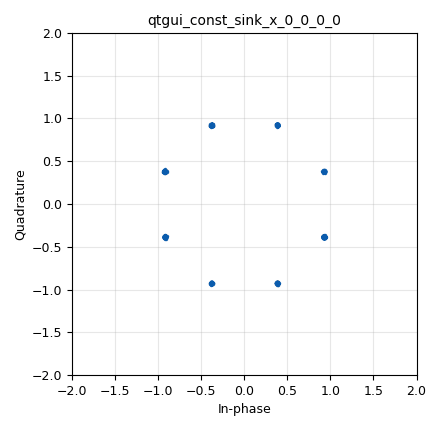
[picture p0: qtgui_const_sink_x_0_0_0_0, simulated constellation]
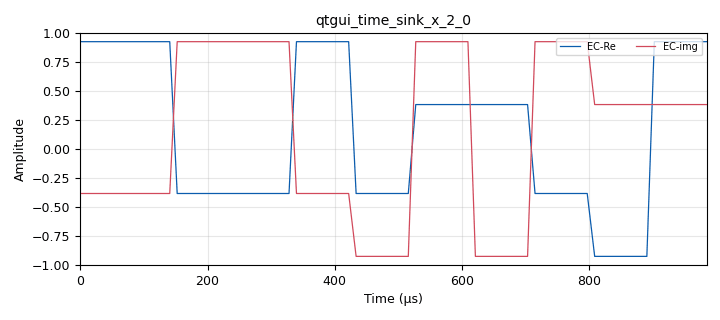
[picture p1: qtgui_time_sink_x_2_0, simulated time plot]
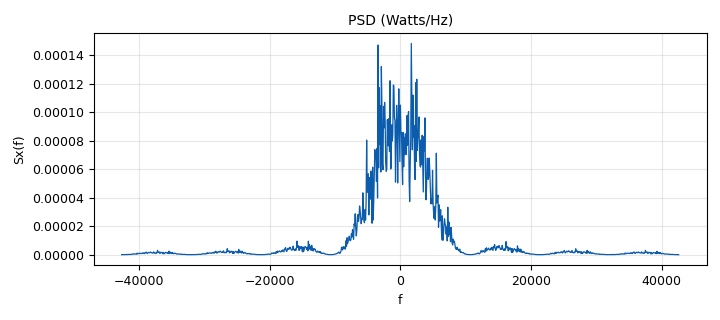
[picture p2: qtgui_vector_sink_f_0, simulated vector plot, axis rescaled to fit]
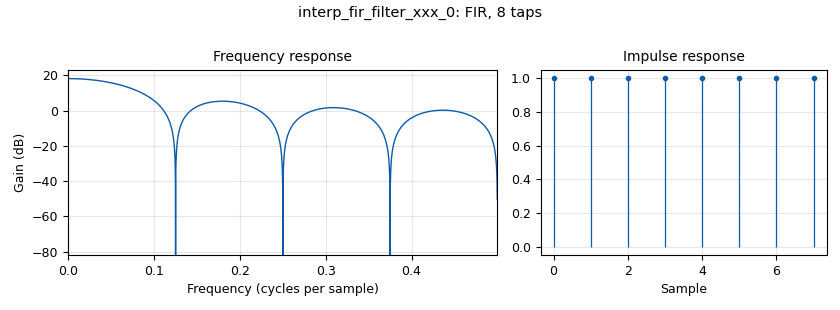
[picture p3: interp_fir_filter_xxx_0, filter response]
options:
  parameters:
    generate_options: qt_gui
    id: new_hier
    output_language: python
    title: Not titled yet
  states: {}

blocks:
- name: Constelacion
  id: variable
  parameters:
    value: (-0.77-0.77j,-1+0j,-0.77+0.77j,0+1j,0.77+0.77j,1+0j,0.77-0.77j,0-1j)
  states: {state: disabled}
- name: Constelacion
  id: variable
  parameters:
    value: '[1+0j,0+1j,-1+0j,0-1j]'
  states: {state: disabled}
- name: Constelacion
  id: variable
  parameters:
    value: (0.9239+0.3827j, 0.3827+0.9239j, -0.3827+0.9239j, -0.9239+0.3827j, -0.9239-0.3827j, -0.3827-0.9239j, 0.3827-0.9239j, 0.9239-0.3827j)
  states: {}
- name: Constelacion
  id: variable
  parameters:
    value: |-
      (0.3827+0.9239j, -0.3827+0.9239j, -0.9239+0.3827j, -0.9239-0.3827j,
       -0.3827-0.9239j, 0.3827-0.9239j, 0.9239-0.3827j, 0.9239+0.3827j)
  states: {state: disabled}
- name: M
  id: variable
  parameters:
    value: len(Constelacion)
  states: {}
- name: N
  id: variable
  parameters:
    value: '1024'
  states: {}
- name: Nbps
  id: variable
  parameters:
    value: int(math.log(M,2))
  states: {}
- name: Rb
  id: variable
  parameters:
    value: '32000'
  states: {}
- name: Rs
  id: variable
  parameters:
    value: Rb/Nbps
  states: {}
- name: Sps
  id: variable
  parameters:
    value: len(h)
  states: {}
- name: h
  id: variable
  parameters:
    value: (1,1,1,1,1,1,1,1)
  states: {}
- name: samp_rate
  id: variable
  parameters:
    value: Rs*Sps
  states: {}
- name: M
  id: parameter
  parameters:
    value: len(Constelacion)
  states: {state: disabled}
- name: Menu
  id: qtgui_tab_widget
  parameters:
    label0: Time & Freq
    label1: Freq
    num_tabs: '2'
  states: {}
- name: analog_const_source_x_0
  id: analog_const_source_x
  parameters:
    const: '1.'
    type: float
  states: {state: disabled}
- name: analog_noise_source_x_0
  id: analog_noise_source_x
  parameters:
    amp: '0.01'
    noise_type: analog.GR_GAUSSIAN
    seed: '0'
    type: complex
  states: {}
- name: analog_random_source_x_0
  id: analog_random_source_x
  parameters:
    max: '8'
    min: '0'
    num_samps: '1000'
    repeat: 'True'
    type: byte
  states: {}
- name: blocks_add_xx_0
  id: blocks_add_xx
  parameters:
    type: complex
  states: {}
- name: blocks_char_to_float_0
  id: blocks_char_to_float
  parameters:
    scale: '1'
  states: {state: disabled}
- name: blocks_char_to_float_0_0
  id: blocks_char_to_float
  parameters:
    scale: '1'
  states: {state: disabled}
- name: blocks_char_to_float_0_0_0
  id: blocks_char_to_float
  parameters:
    scale: '1'
  states: {state: disabled}
- name: blocks_complex_to_mag_squared_0
  id: blocks_complex_to_mag_squared
  parameters:
    vlen: N
  states: {}
- name: blocks_multiply_const_vxx_0
  id: blocks_multiply_const_vxx
  parameters:
    const: 2*math.pi/M
    type: float
  states: {state: disabled}
- name: blocks_multiply_const_vxx_1
  id: blocks_multiply_const_vxx
  parameters:
    const: '[1/(N*samp_rate)]*N'
    type: float
    vlen: N
  states: {}
- name: blocks_null_sink_0
  id: blocks_null_sink
  parameters:
    type: complex
  states: {}
- name: blocks_repack_bits_bb_0
  id: blocks_repack_bits_bb
  parameters:
    endianness: gr.GR_LSB_FIRST
    k: '3'
    l: Nbps
  states: {}
- name: blocks_stream_to_vector_0
  id: blocks_stream_to_vector
  parameters:
    num_items: '1024'
    type: complex
  states: {}
- name: blocks_throttle2_0
  id: blocks_throttle2
  parameters:
    samples_per_second: samp_rate
    type: complex
  states: {}
- name: blocks_vector_source_x_0
  id: blocks_vector_source_x
  parameters:
    repeat: 'True'
    type: byte
    vector: (0,1,2,3,4,5,6,7)
  states: {state: disabled}
- name: digital_chunks_to_symbols_xx_0
  id: digital_chunks_to_symbols_xx
  parameters:
    dimension: '1'
    in_type: byte
    out_type: complex
    symbol_table: Constelacion
  states: {}
- name: epy_block_0
  id: epy_block
  parameters:
    _source_code: "\"\"\"\nEmbedded Python Blocks:\n\nEach time this file is saved, GRC will instantiate the first class it finds\nto get ports and parameters of your block. The arguments to __init__  will\nbe the parameters. All of them are required to have default values!\n\"\"\"\n\nimport numpy as np\nfrom gnuradio import gr\n\n\nclass blk(gr.sync_block):  # other base classes are basic_block, decim_block, interp_block\n    \"\"\"Embedded Python Block example - a simple multiply const\"\"\"\n\n    def __init__(self, example_param=1.0):  # only default arguments here\n        \"\"\"arguments to this function show up as parameters in GRC\"\"\"\n        gr.sync_block.__init__(\n            self,\n            name='VCO Complex',   # will show up in GRC\n            in_sig=[np.float32,np.float32],\n            out_sig=[np.complex64]\n        )\n        # if an attribute with the same name as a parameter is found,\n        # a callback is registered (properties work, too).\n        self.example_param = example_param\n\n    def work(self, input_items, output_items):\n        Q=input_items[0]\n        A=input_items[1]\n        Sec=output_items[0]\n        #N=len(A)\"Longitud del vector que representa la amlitud\"\n        Sec[:]=A*np.exp(1j*Q) \n        return len(Sec)\n\n\n"
    example_param: '1.0'
  states: {state: disabled}
- name: epy_block_0_0
  id: epy_block
  parameters:
    N: N
    _source_code: |
      import numpy as np
      from gnuradio import gr


      class blk(gr.sync_block):  
          """vector averager. N is the lengh of the vector"""

          def __init__(self, N=1024):
              gr.sync_block.__init__(
                  self,
                  name='e_vec_averager_ff',   
                  in_sig=[(np.float32,N)],
                  out_sig=[(np.float32,N)]
              )
              self.N = N
              self.rows_counter=0
              self.sum=0

          def work(self, input_items, output_items):
              x=input_items[0]
              y=output_items[0]
              self.sum += np.sum(x, axis=0)
              self.rows_counter += len(x)
              y[:]=self.sum/self.rows_counter
              return len(output_items[0])
  states: {}
- name: fft_vxx_0
  id: fft_vxx
  parameters:
    fft_size: N
    forward: 'True'
    shift: 'True'
    type: complex
    window: '[1]*1024'
  states: {}
- name: import_0
  id: import
  parameters:
    imports: import math
  states: {}
- name: interp_fir_filter_xxx_0
  id: interp_fir_filter_xxx
  parameters:
    interp: Sps
    taps: h
    type: ccc
  states: {}
- name: qtgui_const_sink_x_0
  id: qtgui_const_sink_x
  parameters:
    size: '1024'
    type: complex
  states: {state: disabled}
- name: qtgui_const_sink_x_0_0_0
  id: qtgui_const_sink_x
  parameters:
    size: '1024'
    type: complex
  states: {state: disabled}
- name: qtgui_const_sink_x_0_0_0_0
  id: qtgui_const_sink_x
  parameters:
    size: '1024'
    type: complex
  states: {}
- name: qtgui_freq_sink_x_0
  id: qtgui_freq_sink_x
  parameters:
    average: '0.05'
    bw: samp_rate
    fc: '0'
    fftsize: '1024'
    type: complex
  states: {state: disabled}
- name: qtgui_freq_sink_x_1
  id: qtgui_freq_sink_x
  parameters:
    bw: samp_rate
    fc: '0'
    fftsize: '1024'
    type: complex
  states: {state: disabled}
- name: qtgui_time_sink_x_0
  id: qtgui_time_sink_x
  parameters:
    marker1: '0'
    name: Npam_mod
    size: int(32/Nbps)
    srate: Rs
    stemplot: 'True'
    type: float
    width1: '3'
  states: {state: disabled}
- name: qtgui_time_sink_x_0_0
  id: qtgui_time_sink_x
  parameters:
    marker1: '0'
    size: int(32/Nbps)
    srate: Rs
    stemplot: 'True'
    type: float
    width1: '3'
  states: {state: disabled}
- name: qtgui_time_sink_x_1
  id: qtgui_time_sink_x
  parameters:
    marker1: '0'
    name: Binaria
    size: '32'
    srate: Rb
    stemplot: 'True'
    type: float
    width1: '3'
  states: {state: disabled}
- name: qtgui_time_sink_x_2
  id: qtgui_time_sink_x
  parameters:
    label1: EC-Re
    label2: EC-img
    marker1: '0'
    marker2: '0'
    size: int(32/Nbps)
    srate: Rs
    stemplot: 'True'
    type: complex
    width1: '3'
    width2: '3'
  states: {state: disabled}
- name: qtgui_time_sink_x_2_0
  id: qtgui_time_sink_x
  parameters:
    grid: 'True'
    label1: EC-Re
    label2: EC-img
    size: int(32*Sps/Nbps)
    srate: samp_rate
    type: complex
    width1: '3'
    width2: '3'
  states: {}
- name: qtgui_time_sink_x_2_0_0
  id: qtgui_time_sink_x
  parameters:
    label1: EC-Re
    label2: EC-img
    size: int(32*Sps/Nbps)
    srate: samp_rate
    type: complex
    width1: '3'
    width2: '3'
  states: {state: disabled}
- name: qtgui_time_sink_x_2_1
  id: qtgui_time_sink_x
  parameters:
    entags: 'False'
    label1: EC-Re
    label2: EC-img
    size: '512'
    srate: Rs
    type: complex
    width1: '3'
    width2: '3'
  states: {state: disabled}
- name: qtgui_vector_sink_f_0
  id: qtgui_vector_sink_f
  parameters:
    average: '0.05'
    gui_hint: Menu@0:3,0,1,1
    label1: p4
    name: '"PSD (Watts/Hz)"'
    vlen: N
    x_axis_label: '"f"'
    x_start: '-samp_rate/2'
    x_step: samp_rate/N
    x_units: '"Hz"'
    y_axis_label: '"Sx(f)"'
    y_units: '"Watss/Hz"'
    ymax: 1/Rb
    ymin: '0'
  states: {}

connections:
- [analog_const_source_x_0, '0', epy_block_0, '1']
- [analog_noise_source_x_0, '0', blocks_add_xx_0, '1']
- [analog_noise_source_x_0, '0', qtgui_const_sink_x_0_0_0, '0']
- [analog_noise_source_x_0, '0', qtgui_time_sink_x_2_1, '0']
- [analog_random_source_x_0, '0', blocks_char_to_float_0_0, '0']
- [analog_random_source_x_0, '0', blocks_repack_bits_bb_0, '0']
- [blocks_add_xx_0, '0', blocks_null_sink_0, '0']
- [blocks_add_xx_0, '0', blocks_stream_to_vector_0, '0']
- [blocks_add_xx_0, '0', qtgui_const_sink_x_0_0_0_0, '0']
- [blocks_add_xx_0, '0', qtgui_freq_sink_x_1, '0']
- [blocks_add_xx_0, '0', qtgui_time_sink_x_2_0_0, '0']
- [blocks_char_to_float_0, '0', blocks_multiply_const_vxx_0, '0']
- [blocks_char_to_float_0_0, '0', qtgui_time_sink_x_1, '0']
- [blocks_char_to_float_0_0_0, '0', qtgui_time_sink_x_0_0, '0']
- [blocks_complex_to_mag_squared_0, '0', epy_block_0_0, '0']
- [blocks_multiply_const_vxx_0, '0', epy_block_0, '0']
- [blocks_multiply_const_vxx_0, '0', qtgui_time_sink_x_0, '0']
- [blocks_multiply_const_vxx_1, '0', qtgui_vector_sink_f_0, '0']
- [blocks_repack_bits_bb_0, '0', blocks_char_to_float_0, '0']
- [blocks_repack_bits_bb_0, '0', blocks_char_to_float_0_0_0, '0']
- [blocks_repack_bits_bb_0, '0', digital_chunks_to_symbols_xx_0, '0']
- [blocks_stream_to_vector_0, '0', fft_vxx_0, '0']
- [blocks_throttle2_0, '0', blocks_add_xx_0, '0']
- [blocks_vector_source_x_0, '0', blocks_repack_bits_bb_0, '0']
- [digital_chunks_to_symbols_xx_0, '0', interp_fir_filter_xxx_0, '0']
- [epy_block_0, '0', interp_fir_filter_xxx_0, '0']
- [epy_block_0, '0', qtgui_const_sink_x_0, '0']
- [epy_block_0, '0', qtgui_time_sink_x_2, '0']
- [epy_block_0_0, '0', blocks_multiply_const_vxx_1, '0']
- [fft_vxx_0, '0', blocks_complex_to_mag_squared_0, '0']
- [interp_fir_filter_xxx_0, '0', blocks_throttle2_0, '0']
- [interp_fir_filter_xxx_0, '0', qtgui_freq_sink_x_0, '0']
- [interp_fir_filter_xxx_0, '0', qtgui_time_sink_x_2_0, '0']

metadata:
  file_format: 1
  grc_version: 3.10.10.0
